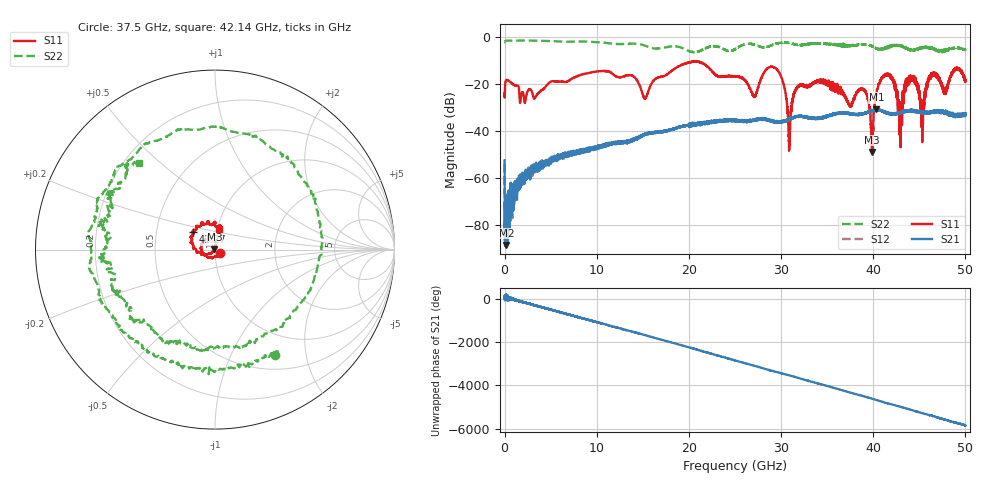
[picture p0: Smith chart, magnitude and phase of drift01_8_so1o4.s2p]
!Created with skrf (http://scikit-rf.org).
# Hz S RI R 50.0
!freq ReS11 ImS11 ReS21 ImS21 ReS12 ImS12 ReS22 ImS22
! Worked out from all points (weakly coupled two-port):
!   10001 points, 300 kHz to 50 GHz, reference 50 ohm
!   highest |S21| = -30.59 dB at 40.35 GHz (marker M1); lowest = -88.3 dB at 205.3 MHz (marker M2)
!   lowest |S11| = -48.7 dB at 39.87 GHz (marker M3), VSWR 1.01, Z = 49.7 + j0.109 ohm
!   |S11| at or under -10 dB: start of sweep to end of sweep
!   |S22| runs from -6.5 to -1.4 dB; largest |S21 - S12| = 0.0037
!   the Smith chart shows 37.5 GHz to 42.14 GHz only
!   S11 on the Smith chart (normalised r, x): 37.5 GHz: 1.06, -0.05; 41.27 GHz: 0.77, +0.16; 42.14 GHz: 1.02, +0.24
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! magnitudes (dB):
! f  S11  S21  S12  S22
! 300 kHz  -23.6  -52.3  -53.8  -2.1
! 205.3 MHz  -18.1  -88.3  -79.5  -1.4
! 8.335 GHz  -15.9  -48.3  -48.6  -1.8
! 16.67 GHz  -17.0  -40.5  -40.5  -4.8
! 25 GHz  -16.6  -34.9  -35.3  -5.1
! 27.11 GHz  -25.2  -35.3  -35.3  -3.1
! 29.41 GHz  -13.2  -35.9  -35.7  -2.8
! 30.91 GHz  -43.3  -34.9  -34.8  -2.6
! 31.66 GHz  -21.7  -33.9  -33.7  -3.1
! 33.34 GHz  -20.1  -34.6  -34.4  -2.7
! 37.5 GHz  -29.0  -32.5  -32.4  -3.4
! 38.95 GHz  -22.0  -32.6  -32.6  -3.1
! 39.87 GHz  -48.7  -31.2  -31.2  -3.7
! 40.35 GHz  -23.9  -30.6  -30.8  -4.7
! 41.27 GHz  -16.0  -32.2  -31.8  -4.4
! 41.67 GHz  -16.3  -32.4  -32.5  -4.4
! 42.14 GHz  -18.6  -32.3  -32.5  -3.8
! 42.91 GHz  -31.1  -32.2  -32.3  -3.5
! 43.97 GHz  -18.4  -31.2  -31.2  -5.4
! 45.31 GHz  -38.9  -31.8  -31.8  -4.5
! 46.46 GHz  -15.3  -31.4  -31.9  -4.9
! 50 GHz  -18.4  -32.3  -32.6  -5.4
